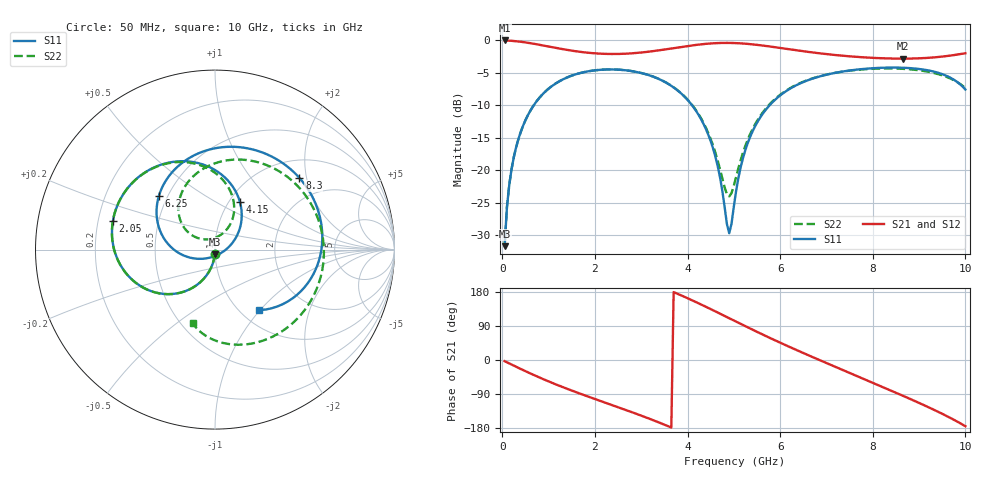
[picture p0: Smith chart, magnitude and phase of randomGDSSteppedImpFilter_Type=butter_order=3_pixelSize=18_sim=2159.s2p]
! freq	dB(S11)	phase(S11)	dB(S12)	phase(S12)
!  dB(S21)	phase(S21)	dB(S22)	phase(S22)
!S-par simulation data
#  GHz  S  DB  R 50
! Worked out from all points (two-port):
!   200 points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, 50 MHz to 10 GHz, reference 50 ohm
!   highest |S21| = -0.01 dB at 50 MHz (marker M1); lowest = -2.8 dB at 8.65 GHz (marker M2)
!   |S21| within 3 dB of the highest: start of sweep to end of sweep
!   lowest |S11| = -31.7 dB at 50 MHz (marker M3), VSWR 1.05, Z = 49.8 - j2.6 ohm
!   |S11| at or under -10 dB: start of sweep to 678.9 MHz; 4.098 GHz to 5.771 GHz (1.673 GHz wide, 33.9 % of centre)
!   |S22| runs from -31.7 to -4.3 dB; largest |S21 - S12| = 0
!   S11 on the Smith chart (normalised r, x): 50 MHz: 1.00, -0.05; 2.05 GHz: 0.26, +0.13; 4.15 GHz: 1.12, +0.65; 6.25 GHz: 0.45, +0.33; 8.3 GHz: 1.41, +1.81; 10 GHz: 1.21, -0.99
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0.05  -31.68 -92.7  -0.01 -3.1  -0.01 -3.1  -31.68 -92.7
0.1  -25.72 -95.7  -0.03 -6.1  -0.03 -6.1  -25.72 -95.7
0.2  -19.82 -102.0  -0.07 -12.0  -0.07 -12.0  -19.82 -102.0
0.5  -12.29 -119.9  -0.31 -29.5  -0.31 -29.5  -12.29 -119.9
1.05  -7.15 -149.6  -1.01 -59.0  -1.01 -59.0  -7.15 -149.5
1.75  -4.91 177.4  -1.82 -92.0  -1.82 -92.0  -4.91 177.6
2.05  -4.57 164.3  -2.02 -105.1  -2.02 -105.1  -4.57 164.6
2.8  -4.74 131.6  -1.99 -137.7  -1.99 -137.7  -4.73 132.4
3.4  -6.01 103.5  -1.51 -165.7  -1.51 -165.7  -5.99 105.5
4.15  -10.50 62.2  -0.73 154.7  -0.73 154.7  -10.42 70.6
4.6  -17.85 28.2  -0.43 128.4  -0.43 128.4  -17.26 59.3
4.9  -29.68 -65.0  -0.39 110.3  -0.39 110.3  -24.02 105.6
5.05  -23.13 -135.3  -0.42 101.2  -0.42 101.2  -20.99 139.6
5.45  -13.34 -177.2  -0.65 77.3  -0.65 77.3  -13.03 143.4
6.25  -7.28 136.3  -1.42 31.9  -1.42 31.9  -7.21 103.8
6.7  -5.88 113.9  -1.86 7.8  -1.86 7.8  -5.85 79.0
7.4  -4.74 81.2  -2.40 -28.8  -2.40 -28.8  -4.76 39.9
8.3  -4.19 40.4  -2.78 -75.7  -2.78 -75.7  -4.32 -11.1
8.35  -4.19 38.0  -2.79 -78.3  -2.79 -78.3  -4.32 -14.0
8.65  -4.21 24.0  -2.81 -94.3  -2.81 -94.3  -4.38 -31.0
9.35  -4.86 -11.3  -2.60 -133.1  -2.60 -133.1  -5.07 -70.9
10  -7.56 -53.7  -1.98 -174.7  -1.98 -174.7  -7.34 -106.8
